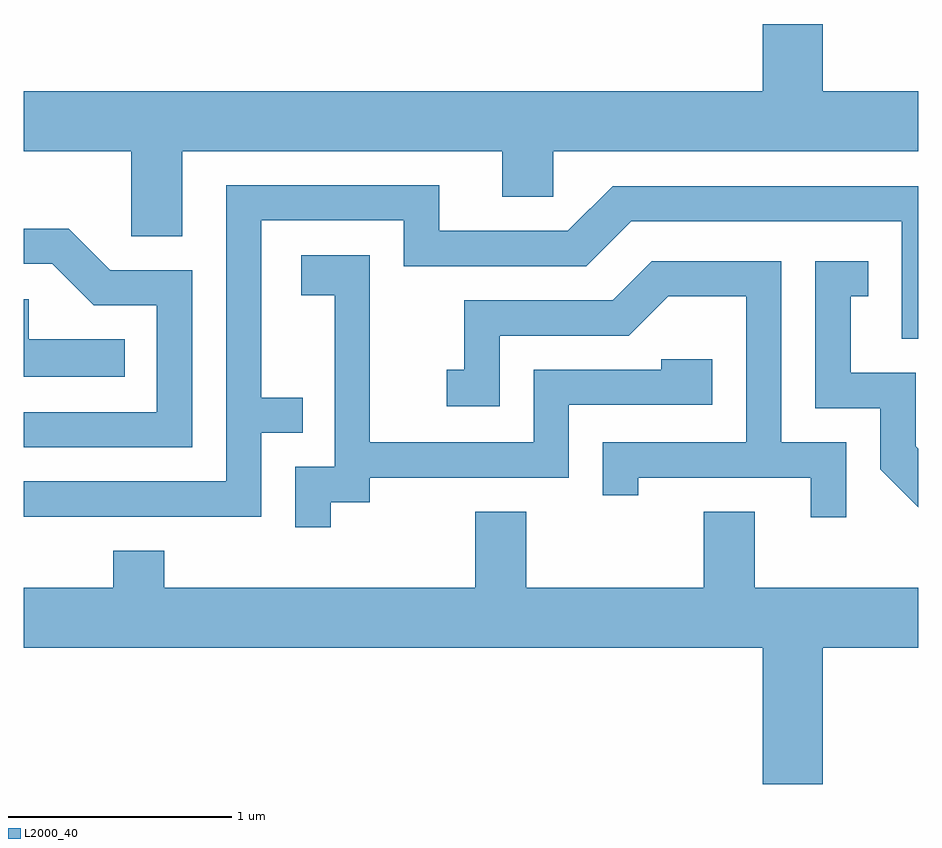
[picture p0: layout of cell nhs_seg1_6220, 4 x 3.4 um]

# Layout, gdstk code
import gdstk
lib = gdstk.Library(unit=1e-6, precision=1e-09)
def P(c, l, *ps):  # polygons
    for p in ps: c.add(gdstk.Polygon(p, *l))
L2000_40 = (2000, 40)

nhs_seg1_6220 = lib.new_cell('nhs_seg1_6220')
P(nhs_seg1_6220, L2000_40, [(372.319,975.056),(373.751,975.056),(373.751,974.851),(373.979,974.851),(373.979,975.056),(375.611,975.056),(375.611,975.324),(375.184,975.324),(375.184,975.624),(374.916,975.624),(374.916,975.324),(371.611,975.324),(371.611,975.056),(372.091,975.056),(372.091,974.676),(372.319,974.676)],
  [(372.674,973.796),(372.858,973.796),(372.858,973.954),(372.674,973.954),(372.674,974.746),(373.311,974.746),(373.311,974.541),(374.127,974.541),(374.327,974.741),(375.536,974.741),(375.536,974.216),(375.611,974.216),(375.611,974.899),(374.244,974.899),(374.044,974.699),(373.469,974.699),(373.469,974.904),(372.516,974.904),(372.516,973.579),(371.611,973.579),(371.611,973.421),(372.674,973.421)],
  [(372.364,974.524),(371.997,974.524),(371.812,974.709),(371.611,974.709),(371.611,974.551),(371.739,974.551),(371.924,974.366),(372.206,974.366),(372.206,973.889),(371.611,973.889),(371.611,973.731),(372.364,973.731)],
  [(372.984,973.486),(373.159,973.486),(373.159,973.596),(374.049,973.596),(374.049,973.921),(374.689,973.921),(374.689,974.124),(374.461,974.124),(374.461,974.079),(373.891,974.079),(373.891,973.754),(373.159,973.754),(373.159,974.589),(372.851,974.589),(372.851,974.411),(373.001,974.411),(373.001,973.644),(372.826,973.644),(372.826,973.373),(372.984,973.373)],
  [(375.289,973.754),(374.999,973.754),(374.999,974.564),(374.419,974.564),(374.244,974.389),(373.581,974.389),(373.581,974.079),(373.503,974.079),(373.503,973.916),(373.739,973.916),(373.739,974.231),(374.317,974.231),(374.492,974.406),(374.841,974.406),(374.841,973.754),(374.201,973.754),(374.201,973.518),(374.359,973.518),(374.359,973.596),(375.131,973.596),(375.131,973.418),(375.289,973.418)],
  [(375.611,973.725),(375.599,973.737),(375.599,974.064),(375.309,974.064),(375.309,974.406),(375.388,974.406),(375.388,974.564),(375.151,974.564),(375.151,973.906),(375.441,973.906),(375.441,973.634),(375.611,973.464)],
  [(372.063,974.214),(371.634,974.214),(371.634,974.394),(371.611,974.394),(371.611,974.046),(372.063,974.046)],
  [(375.184,972.836),(375.611,972.836),(375.611,973.104),(374.879,973.104),(374.879,973.444),(374.651,973.444),(374.651,973.104),(373.859,973.104),(373.859,973.444),(373.631,973.444),(373.631,973.104),(372.239,973.104),(372.239,973.269),(372.011,973.269),(372.011,973.104),(371.611,973.104),(371.611,972.836),(374.916,972.836),(374.916,972.226),(375.184,972.226)])

lib.write_gds('nhs_seg1_6220.gds')
